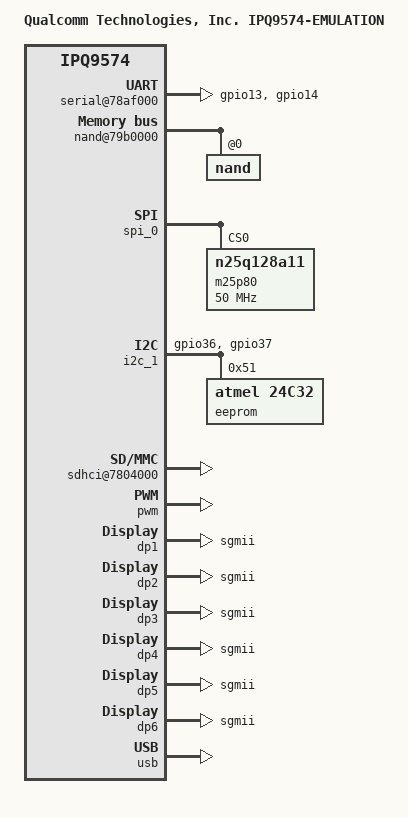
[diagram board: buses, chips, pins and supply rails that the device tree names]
// SPDX-License-Identifier: (GPL-2.0+ OR BSD-3-Clause)
/*
 * IPQ9574 Emulation board device tree source
 *
 * Copyright (c) 2020-2021 The Linux Foundation. All rights reserved.
 */

/dts-v1/;

#include "ipq9574.dtsi"
#include "ipq9574-default-memory.dtsi"
#include "ipq9574-cpu.dtsi"

/ {
	#address-cells = <0x2>;
	#size-cells = <0x2>;
	model = "Qualcomm Technologies, Inc. IPQ9574-EMULATION";
	compatible = "qcom,ipq9574-ap-al-emulation", "qcom,ipq9574";
	interrupt-parent = <&intc>;

	clocks {
		sleep_clk: sleep-clk {
			clock-frequency = <320>;
		};

		xo: xo {
			clock-frequency = <240000>;
		};
	};

	aliases {
		serial0 = &blsp1_uart0;
		ethernet0 = "/soc/dp1";
		ethernet1 = "/soc/dp2";
		ethernet2 = "/soc/dp3";
		ethernet3 = "/soc/dp4";
		ethernet4 = "/soc/dp5";
		ethernet5 = "/soc/dp6";
	};

	chosen {
		linux,initrd-end = <0x47000000>;
		linux,initrd-start = <0x45000000>;
		bootargs = "root=/dev/ram0 rw init=/init maxcpus=2";
		stdout-path = "serial0";
	};

	cpus: cpus {
		CPU0: cpu@0 {
			enable-method = "qcom,arm-cortex-acc";
			qcom,acc = <&acc0>;
		};

		CPU1: cpu@1 {
			enable-method = "qcom,arm-cortex-acc";
			qcom,acc = <&acc1>;
		};

		CPU2: cpu@2 {
			enable-method = "qcom,arm-cortex-acc";
			qcom,acc = <&acc2>;
		};

		CPU3: cpu@3 {
			enable-method = "qcom,arm-cortex-acc";
			qcom,acc = <&acc3>;
		};
	};

	ctx_save: ctx-save {
		status = "disabled";
	};

	tzlog: qti,tzlog {
		status = "disabled";
	};

	firmware {
		qfprom {
			status = "disabled";
		};
	};

	soc {
		pinctrl@1000000 {
			i2c_1_pins: i2c-1-pinmux {
				pins = "gpio36", "gpio37";
				function = "blsp1_i2c";
				drive-strength = <8>;
				bias-disable;
			};

			serial_0_pins: serial0-pinmux {
				pins = "gpio13", "gpio14";
				function = "blsp0_uart";
				drive-strength = <8>;
				bias-pull-down;
			};

			serial_3_pins: serial3-pinmux {
				pins = "gpio34", "gpio35";
				function = "blsp2_uart";
				drive-strength = <8>;
				bias-pull-down;
			};

			mdio_pins: mdio_pinmux {
				mux_0 {
					pins = "gpio38";
					function = "mdc";
					drive-strength = <8>;
					bias-pull-up;
				};
				mux_1 {
					pins = "gpio39";
					function = "mdio";
					drive-strength = <8>;
					bias-pull-up;
				};
			};
		};

		serial@78af000 {
			pinctrl-0 = <&serial_0_pins>;
			pinctrl-names = "default";
			status = "ok";
		};

		cryptobam: dma@704000 {
			qcom,controlled-remotely = <0>;
			qti,config-pipe-trust-reg = <1>;
		};

		dma@7984000 {
			status = "ok";
		};

		nand@79b0000 {
			status = "ok";

			nand@0 {
				reg = <0>;
				#address-cells = <1>;
				#size-cells = <1>;

				nand-ecc-strength = <4>;
				nand-ecc-step-size = <512>;
				nand-bus-width = <8>;
			};
		};

		spi_0: spi@78b5000 { /* BLSP1 QUP0 */
			status = "ok";
			cs-select = <0>;

			m25p80@0 {
				compatible = "n25q128a11";
				#address-cells = <1>;
				#size-cells = <1>;
				reg = <0>;
				spi-max-frequency = <50000000>;
			};
		};

		i2c_1: i2c@78b6000 {
			pinctrl-0 = <&i2c_1_pins>;
			pinctrl-names = "default";
			status = "ok";

			eeprom: eeprom@50 {
				compatible = "atmel,24c32";
				reg = <0x51>;
			};
		};

		sdhci@7804000 {
			status = "ok";
			qcom,emulation;
		};

		gcc: gcc@1800000 {
			gcc-use-dummy;
		};

		a73pll: clock@b116000 {
			status = "disabled";
		};

		nsscc: nsscc@39b00000 {
			nsscc-use-dummy;
		};

		remoteproc@cd00000 {
			qcom,emulation;
			bootaddr=<0x4AB00000>;
		};

		pwm {
			used-pwm-indices = <1>, <1>, <1>, <1>;
			status = "ok";
		};

		ess-instance {
			num_devices = <0x1>;
			ess-switch@3a000000 {
				qcom,emulation; /* RUMI ENV */
				switch_cpu_bmp = <0x1>;  /* cpu port bitmap */
				switch_lan_bmp = <0x3e>; /* lan port bitmap */
				switch_wan_bmp = <0x40>; /* wan port bitmap */
				switch_mac_mode = <0x0>; /* mac mode for uniphy instance0*/
				switch_mac_mode1 = <0xd>; /* mac mode for uniphy instance1*/
				switch_mac_mode2 = <0xd>; /* mac mode for uniphy instance2*/
				bm_tick_mode = <0>; /* bm tick mode */
				tm_tick_mode = <0>; /* tm tick mode */

				qcom,port_phyinfo {
					port@0 {
						port_id = <1>;
						forced-speed = <1000>;
						forced-duplex = <1>;
					};
					port@1 {
						port_id = <2>;
						forced-speed = <1000>;
						forced-duplex = <1>;
					};
					port@2 {
						port_id = <3>;
						forced-speed = <1000>;
						forced-duplex = <1>;
					};
					port@3 {
						port_id = <4>;
						forced-speed = <1000>;
						forced-duplex = <1>;
					};
					port@4 {
						port_id = <5>;
						forced-speed = <10000>;
						forced-duplex = <1>;
					};
					port@5 {
						port_id = <6>;
						forced-speed = <10000>;
						forced-duplex = <1>;
					};
				};
				port_scheduler_resource {
					port@0 {
						port_id = <0>;
						ucast_queue = <0 43>;
						mcast_queue = <256 262>;
						l0sp = <0 6>;
						l0cdrr = <0 27>;
						l0edrr = <0 27>;
						l1cdrr = <0 0>;
						l1edrr = <0 0>;
					};
					port@1 {
						port_id = <1>;
						ucast_queue = <204 211>;
						mcast_queue = <272 275>;
						l0sp = <51 52>;
						l0cdrr = <108 115>;
						l0edrr = <108 115>;
						l1cdrr = <23 24>;
						l1edrr = <23 24>;
					};
					port@2 {
						port_id = <2>;
						ucast_queue = <212 219>;
						mcast_queue = <276 279>;
						l0sp = <53 54>;
						l0cdrr = <116 123>;
						l0edrr = <116 123>;
						l1cdrr = <25 26>;
						l1edrr = <25 26>;
					};
					port@3 {
						port_id = <3>;
						ucast_queue = <220 227>;
						mcast_queue = <280 283>;
						l0sp = <55 56>;
						l0cdrr = <124 131>;
						l0edrr = <124 131>;
						l1cdrr = <27 28>;
						l1edrr = <27 28>;
					};
					port@4 {
						port_id = <4>;
						ucast_queue = <228 235>;
						mcast_queue = <284 287>;
						l0sp = <57 58>;
						l0cdrr = <132 139>;
						l0edrr = <132 139>;
						l1cdrr = <29 30>;
						l1edrr = <29 30>;
					};
					port@5 {
						port_id = <5>;
						ucast_queue = <236 243>;
						mcast_queue = <288 291>;
						l0sp = <59 60>;
						l0cdrr = <140 147>;
						l0edrr = <140 147>;
						l1cdrr = <31 32>;
						l1edrr = <31 32>;
					};
					port@6 {
						port_id = <6>;
						ucast_queue = <244 251>;
						mcast_queue = <292 295>;
						l0sp = <61 62>;
						l0cdrr = <148 155>;
						l0edrr = <148 155>;
						l1cdrr = <33 34>;
						l1edrr = <33 34>;
					};
					port@7 {
						port_id = <7>;
						ucast_queue = <252 255>;
						mcast_queue = <296 299>;
						l0sp = <63 63>;
						l0cdrr = <156 159>;
						l0edrr = <156 159>;
						l1cdrr = <35 35>;
						l1edrr = <35 35>;
					};
					reserved {
						ucast_queue = <44 203>;
						mcast_queue = <263 271>;
						l0sp = <7 50>;
						l0cdrr = <28 107>;
						l0edrr = <28 107>;
						l1cdrr = <1 22>;
						l1edrr = <1 22>;
					};
				};
				port_scheduler_config {
					port@0 {
						port_id = <0>;
						l1scheduler {
							group@0 {
								/* L0 SP */
								sp = <0 1 2 3 4 5 6>;
								/* cpri cdrr epri edrr */
								cfg = <0 0 0 0>;
							};
						};
						l0scheduler {
							group@0 {
								/* unicast queue */
								ucast_queue = <0>;
								ucast_loop_pri = <4>;
								/* multicast queue */
								mcast_queue = <256>;
								/* sp cpri cdrr epri edrr */
								cfg = <0 0 0 0 0>;
							};
							group@1 {
								ucast_queue = <4>;
								ucast_loop_pri = <4>;
								cfg = <0 0 0 0 0>;
							};
							group@2 {
								ucast_queue = <8>;
								ucast_loop_pri = <4>;
								mcast_queue = <257>;
								cfg = <1 0 4 0 4>;
							};
							group@3 {
								ucast_queue = <12>;
								ucast_loop_pri = <4>;
								cfg = <1 0 4 0 4>;
							};
							group@4 {
								ucast_queue = <16>;
								ucast_loop_pri = <4>;
								mcast_queue = <258>;
								cfg = <2 0 8 0 8>;
							};
							group@5 {
								ucast_queue = <20>;
								ucast_loop_pri = <4>;
								cfg = <2 0 8 0 8>;
							};
							group@6 {
								ucast_queue = <24>;
								ucast_loop_pri = <4>;
								mcast_queue = <259>;
								cfg = <3 0 12 0 12>;
							};
							group@7 {
								ucast_queue = <28>;
								ucast_loop_pri = <4>;
								cfg = <3 0 12 0 12>;
							};
							group@8 {
								ucast_queue = <32>;
								ucast_loop_pri = <4>;
								mcast_queue = <260>;
								cfg = <4 0 16 0 16>;
							};
							group@9 {
								ucast_queue = <36>;
								ucast_loop_pri = <4>;
								mcast_queue = <261>;
								cfg = <5 0 20 0 20>;
							};
							group@10 {
								ucast_queue = <40>;
								ucast_loop_pri = <4>;
								mcast_queue = <262>;
								cfg = <6 0 24 0 24>;
							};
						};
					};
					port@1 {
						port_id = <1>;
						l1scheduler {
							group@0 {
								sp = <51>;
								cfg = <0 23 0 23>;
							};
							group@1 {
								sp = <52>;
								cfg = <1 24 1 24>;
							};
						};
						l0scheduler {
							group@0 {
								ucast_queue = <204>;
								ucast_loop_pri = <8>;
								/* max priority per SP */
								ucast_max_pri = <4>;
								mcast_queue = <272>;
								mcast_loop_pri = <4>;
								cfg = <51 0 108 0 108>;
							};
						};
					};
					port@2 {
						port_id = <2>;
						l1scheduler {
							group@0 {
								sp = <53>;
								cfg = <0 25 0 25>;
							};
							group@1 {
								sp = <54>;
								cfg = <1 26 1 26>;
							};
						};
						l0scheduler {
							group@0 {
								ucast_queue = <212>;
								ucast_loop_pri = <8>;
								ucast_max_pri = <4>;
								mcast_queue = <276>;
								mcast_loop_pri = <4>;
								cfg = <53 0 116 0 116>;
							};
						};
					};
					port@3 {
						port_id = <3>;
						l1scheduler {
							group@0 {
								sp = <55>;
								cfg = <0 27 0 27>;
							};
							group@1 {
								sp = <56>;
								cfg = <1 28 1 28>;
							};
						};
						l0scheduler {
							group@0 {
								ucast_queue = <220>;
								ucast_loop_pri = <8>;
								ucast_max_pri = <4>;
								mcast_queue = <280>;
								mcast_loop_pri = <4>;
								cfg = <55 0 124 0 124>;
							};
						};
					};
					port@4 {
						port_id = <4>;
						l1scheduler {
							group@0 {
								sp = <57>;
								cfg = <0 29 0 29>;
							};
							group@1 {
								sp = <58>;
								cfg = <1 30 1 30>;
							};
						};
						l0scheduler {
							group@0 {
								ucast_queue = <228>;
								ucast_loop_pri = <8>;
								ucast_max_pri = <4>;
								mcast_queue = <284>;
								mcast_loop_pri = <4>;
								cfg = <57 0 132 0 132>;
							};
						};
					};
					port@5 {
						port_id = <5>;
						l1scheduler {
							group@0 {
								sp = <59>;
								cfg = <0 31 0 31>;
							};
							group@1 {
								sp = <60>;
								cfg = <1 32 1 32>;
							};
						};
						l0scheduler {
							group@0 {
								ucast_queue = <236>;
								ucast_loop_pri = <8>;
								ucast_max_pri = <4>;
								mcast_queue = <288>;
								mcast_loop_pri = <4>;
								cfg = <59 0 140 0 140>;
							};
						};
					};
					port@6 {
						port_id = <6>;
						l1scheduler {
							group@0 {
								sp = <61>;
								cfg = <0 33 0 33>;
							};
							group@1 {
								sp = <62>;
								cfg = <1 34 1 34>;
							};
						};
						l0scheduler {
							group@0 {
								ucast_queue = <244>;
								ucast_loop_pri = <8>;
								ucast_max_pri = <4>;
								mcast_queue = <292>;
								mcast_loop_pri = <4>;
								cfg = <61 0 148 0 148>;
							};
						};
					};
					port@7 {
						port_id = <7>;
						l1scheduler {
							group@0 {
								sp = <63>;
								cfg = <0 35 0 35>;
							};
						};
						l0scheduler {
							group@0 {
								ucast_queue = <252>;
								ucast_loop_pri = <4>;
								ucast_max_pri = <4>;
								mcast_queue = <296>;
								mcast_loop_pri = <4>;
								cfg = <63 0 156 0 156>;
							};
						};
					};
				};
			};
		};

		dp1 {
			device_type = "network";
			compatible = "qcom,nss-dp";
			qcom,id = <1>;
			reg = <0x3a001000 0x200>;
			qcom,mactype = <0>;
			local-mac-address = [000000000000];
			qcom,phy-mdio-addr = <0>;
			phy-mode = "sgmii";
		};

		dp2 {
			device_type = "network";
			compatible = "qcom,nss-dp";
			qcom,id = <2>;
			reg = <0x3a001200 0x200>;
			qcom,mactype = <0>;
			local-mac-address = [000000000000];
			qcom,phy-mdio-addr = <1>;
			phy-mode = "sgmii";
		};

		dp3 {
			device_type = "network";
			compatible = "qcom,nss-dp";
			qcom,id = <3>;
			reg = <0x3a001400 0x200>;
			qcom,mactype = <0>;
			local-mac-address = [000000000000];
			qcom,phy-mdio-addr = <2>;
			phy-mode = "sgmii";
		};

		dp4 {
			device_type = "network";
			compatible = "qcom,nss-dp";
			qcom,id = <4>;
			reg = <0x3a001600 0x200>;
			qcom,mactype = <0>;
			local-mac-address = [000000000000];
			qcom,phy-mdio-addr = <3>;
			phy-mode = "sgmii";
		};

		dp5 {
			device_type = "network";
			compatible = "qcom,nss-dp";
			qcom,id = <5>;
			reg = <0x3a510000 0x4000>;
			qcom,mactype = <1>;
			local-mac-address = [000000000000];
			qcom,phy-mdio-addr = <4>;
			phy-mode = "sgmii";
		};

		dp6 {
			device_type = "network";
			compatible = "qcom,nss-dp";
			qcom,id = <6>;
			reg = <0x3a514000 0x4000>;
			qcom,mactype = <1>;
			local-mac-address = [000000000000];
			qcom,phy-mdio-addr = <7>;
			phy-mode = "sgmii";
		};

		acc0: clock-controller@b188000 {
			compatible = "qcom,arm-cortex-acc";
			reg = <0x0b188000 0x1000>;
		};

		acc1: clock-controller@b198000 {
			compatible = "qcom,arm-cortex-acc";
			reg = <0x0b198000 0x1000>;
		};

		acc2:clock-controller@b1a8000 {
			compatible = "qcom,arm-cortex-acc";
			reg = <0x0b1a8000 0x1000>;
		};

		acc3:clock-controller@b1b8000 {
			compatible = "qcom,arm-cortex-acc";
			reg = <0x0b1b8000 0x1000>;
		};

		/*Timer freq for rumi = timer freq / 100*/
		timer {
			clock-frequency = <240000>;
		};

		timer@b120000 {
			clock-frequency = <240000>;
		};

		usb: usb3@8A00000 {
			status = "ok";
			dwc_0: dwc3@8A00000 {
				phys = <>;
				phy-names = "";
			};
		};

		pcie0_x1: pci@28000000 {
			max-link-speed = <1>;
			perst-gpio = <&tlmm 39 1>;
			status = "disabled";
			pcie0_rp {
				reg = <0 0 0 0 0>;

				qcom,mhi@0 {
					reg = <0 0 0 0 0>;
					qrtr_instance_id = <0x20>;
				};
			};
		};

		pcie1_x1: pci@10000000 {
			max-link-speed = <1>;
			perst-gpio = <&tlmm 40 1>;
			status = "disabled";
			pcie1_rp {
				reg = <0 0 0 0 0>;

				qcom,mhi@1 {
					reg = <0 0 0 0 0>;
					qrtr_instance_id = <0x21>;
				};
			};
		};

		pcie2_x2: pci@20000000 {
			max-link-speed = <1>;
			perst-gpio = <&tlmm 41 1>;
			status = "disabled";
			pcie2_rp {
				reg = <0 0 0 0 0>;

				qcom,mhi@2 {
					reg = <0 0 0 0 0>;
					qrtr_instance_id = <0x22>;
				};
			};
		};

		pcie3_x2: pci@18000000 {
			max-link-speed = <1>;
			perst-gpio = <&tlmm 42 1>;
			status = "disabled";
			pcie3_rp {
				reg = <0 0 0 0 0>;

				qcom,mhi@3 {
					reg = <0 0 0 0 0>;
					qrtr_instance_id = <0x23>;
				};
			};
		};

		qti,rpm-log@29fc00 {
			status = "disabled";
		};

	};

	psci {
		status = "disabled";
	};

	qti,scm_restart_reason {
		status = "disabled";
	};
};
